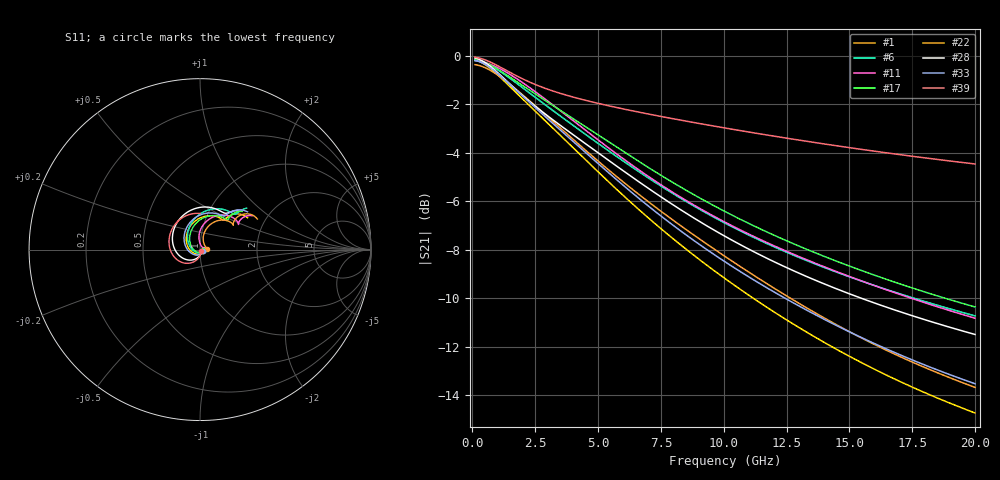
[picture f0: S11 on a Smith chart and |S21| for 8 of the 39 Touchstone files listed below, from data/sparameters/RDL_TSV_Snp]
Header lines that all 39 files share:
! Touchstone file exported from HFSS 2023.1.0
!  Design:  RDL_TSV
!  Setup:  Setup1
!  Solution:  Sweep
! Variables:
# GHz S MA R 50.000000
! Terminal data exported
! Port[1] = TM1_1_T1
! Port[2] = TM1_4_T1
Fixed: hbump = 3um, p = 40, rhole = 10um, t = 450um, viad = 10um, xbump = 18um
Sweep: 100 MHz to 20 GHz
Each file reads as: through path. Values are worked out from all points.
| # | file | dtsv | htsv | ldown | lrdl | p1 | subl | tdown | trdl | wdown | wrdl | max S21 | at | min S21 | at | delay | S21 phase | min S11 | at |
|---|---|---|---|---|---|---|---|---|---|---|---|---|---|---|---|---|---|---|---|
| 1 | dut0.s2p | 20.88um | 87.49um | 478.69um | 654.83um | 55.94um | 4055.39um | 3.23um | 4.89um | 13.56um | 22.6um | -0.18 dB | 100 MHz | -14.7 dB | 20 GHz | 40.7 ps | 175 deg at 10.1 GHz | -34.0 dB | 100 MHz |
| 2 | dut2.s2p | 17.55um | 98.23um | 552.75um | 538.35um | 56.75um | 3811.65um | 4.68um | 3.72um | 19.07um | 26.37um | -0.14 dB | 100 MHz | -14.0 dB | 20 GHz | 37.3 ps | -172 deg at 10.1 GHz | -36.1 dB | 100 MHz |
| 3 | dut3.s2p | 20.86um | 97.53um | 193.39um | 340.9um | 52.71um | 1943.77um | 2.87um | 2.93um | 27.42um | 27.81um | -0.09 dB | 100 MHz | -8.8 dB | 20 GHz | 23.9 ps | -108 deg at 10.1 GHz | -34.5 dB | 100 MHz |
| 4 | dut8.s2p | 19.8um | 84.4um | 602.1um | 325.7um | 48.63um | 3109.1um | 2.41um | 3.86um | 13.27um | 17.84um | -0.24 dB | 100 MHz | -12.2 dB | 20 GHz | 34.7 ps | -155 deg at 10.1 GHz | -31.7 dB | 100 MHz |
| 5 | dut12.s2p | 16.44um | 70.29um | 522.3um | 140.46um | 43.26um | 2128.74um | 2.16um | 3.47um | 22.85um | 13.35um | -0.14 dB | 100 MHz | -7.7 dB | 20 GHz | 23 ps | -103 deg at 10.1 GHz | -35.7 dB | 100 MHz |
| 6 | dut15.s2p | 13.64um | 97.39um | 353.99um | 381.13um | 50.54um | 2586.49um | 3.45um | 2.06um | 20.38um | 15.34um | -0.20 dB | 100 MHz | -10.7 dB | 20 GHz | 28.1 ps | -130 deg at 10.1 GHz | -34.1 dB | 700 MHz |
| 7 | dut20.s2p | 15.56um | 91.16um | 605.74um | 309.29um | 59.93um | 3054.38um | 4.05um | 3.56um | 24.32um | 18.36um | -0.13 dB | 100 MHz | -11.7 dB | 20 GHz | 30.2 ps | -141 deg at 10.1 GHz | -37.2 dB | 100 MHz |
| 8 | dut21.s2p | 20.08um | 97.84um | 483.92um | 539.47um | 48.72um | 3609.64um | 3.31um | 4.92um | 15.24um | 27.25um | -0.15 dB | 100 MHz | -13.0 dB | 20 GHz | 38.6 ps | -172 deg at 10.1 GHz | -34.3 dB | 100 MHz |
| 9 | dut25.s2p | 18.03um | 53.51um | 458.17um | 230.35um | 51.34um | 2295.91um | 2.94um | 3.14um | 25.13um | 28.02um | -0.10 dB | 100 MHz | -7.5 dB | 20 GHz | 21.3 ps | -97 deg at 10.1 GHz | -38.7 dB | 100 MHz |
| 10 | dut28.s2p | 12.66um | 63.07um | 625.79um | 620.86um | 59.43um | 4360.81um | 2.81um | 4.84um | 24.63um | 29.18um | -0.15 dB | 100 MHz | -12.7 dB | 20 GHz | 36.3 ps | -166 deg at 10.1 GHz | -37.2 dB | 600 MHz |
| 11 | dut29.s2p | 12.64um | 82.62um | 552.91um | 376.52um | 45.29um | 3164.81um | 4.84um | 2.77um | 14.4um | 14.28um | -0.20 dB | 100 MHz | -10.8 dB | 20 GHz | 30.7 ps | -140 deg at 10.1 GHz | -34.5 dB | 700 MHz |
| 12 | dut30.s2p | 12.25um | 59.23um | 450.09um | 392.31um | 48.94um | 2919.51um | 4.75um | 3.33um | 10.96um | 25.32um | -0.15 dB | 100 MHz | -9.0 dB | 20 GHz | 25.6 ps | -118 deg at 10.1 GHz | -35.7 dB | 100 MHz |
| 13 | dut31.s2p | 15.23um | 90.77um | 461um | 207.35um | 49.43um | 2212.4um | 4.91um | 4.35um | 19.59um | 28.77um | -0.08 dB | 100 MHz | -8.9 dB | 20 GHz | 23.4 ps | -108 deg at 10.1 GHz | -38.9 dB | 100 MHz |
| 14 | dut34.s2p | 21.64um | 75.35um | 475.02um | 370.62um | 52.73um | 2907.54um | 2.95um | 3.67um | 15.83um | 27.95um | -0.15 dB | 100 MHz | -10.8 dB | 20 GHz | 31 ps | -140 deg at 10.1 GHz | -35.0 dB | 100 MHz |
| 15 | dut35.s2p | 15.22um | 77.59um | 464um | 462.99um | 47.02um | 3243.96um | 4.68um | 3.53um | 27.2um | 20.04um | -0.13 dB | 100 MHz | -10.4 dB | 20 GHz | 30.7 ps | -138 deg at 10.1 GHz | -37.0 dB | 100 MHz |
| 16 | dut36.s2p | 18.58um | 95.93um | 474.65um | 168.18um | 56.25um | 2096.67um | 3.02um | 3.45um | 15.51um | 22.2um | -0.13 dB | 100 MHz | -10.3 dB | 20 GHz | 24.9 ps | -117 deg at 10.1 GHz | -35.5 dB | 100 MHz |
| 17 | dut39.s2p | 19.16um | 58.17um | 610.49um | 392.94um | 50.07um | 3403.23um | 4.67um | 2.73um | 26.9um | 17.62um | -0.16 dB | 100 MHz | -10.4 dB | 20 GHz | 31.5 ps | -141 deg at 10.1 GHz | -36.1 dB | 500 MHz |
| 18 | dut41.s2p | 22.37um | 79.71um | 155.73um | 541.87um | 55.24um | 2634.67um | 4.27um | 3.16um | 19.48um | 20.82um | -0.13 dB | 100 MHz | -10.6 dB | 20 GHz | 29.6 ps | -133 deg at 10.1 GHz | -35.6 dB | 100 MHz |
| 19 | dut43.s2p | 11.84um | 72.65um | 185.41um | 269.32um | 46.14um | 1633.51um | 2.62um | 2.66um | 27.86um | 12.4um | -0.13 dB | 100 MHz | -6.9 dB | 20 GHz | 18.2 ps | -84 deg at 10.1 GHz | -36.9 dB | 500 MHz |
| 20 | dut45.s2p | 10.92um | 73.59um | 635.22um | 631.22um | 54.78um | 4430.54um | 2.8um | 2.58um | 26.51um | 15.36um | -0.28 dB | 100 MHz | -13.5 dB | 20 GHz | 39.3 ps | -178 deg at 10.1 GHz | -29.9 dB | 100 MHz |
| 21 | dut47.s2p | 23.87um | 80.15um | 561.98um | 565.96um | 56.93um | 3949.78um | 4.99um | 2.7um | 27.88um | 28.41um | -0.15 dB | 100 MHz | -13.4 dB | 20 GHz | 39.5 ps | -177 deg at 10.1 GHz | -34.5 dB | 100 MHz |
| 22 | dut50.s2p | 17.86um | 72.65um | 543.77um | 639.32um | 46.83um | 4188.59um | 2.55um | 2.27um | 12.67um | 15.77um | -0.37 dB | 100 MHz | -13.7 dB | 20 GHz | 41 ps | 177 deg at 10.1 GHz | -28.8 dB | 800 MHz |
| 23 | dut52.s2p | 26.44um | 98.58um | 439.7um | 587.06um | 57.47um | 3667.34um | 3.4um | 4.83um | 15.77um | 12.01um | -0.21 dB | 100 MHz | -15.2 dB | 20 GHz | 46.2 ps | 158 deg at 10.1 GHz | -32.3 dB | 100 MHz |
| 24 | dut56.s2p | 17.92um | 94.42um | 557.71um | 250.12um | 44.04um | 2673.61um | 4.75um | 3.65um | 24.11um | 26.67um | -0.09 dB | 100 MHz | -9.5 dB | 20 GHz | 28.9 ps | -128 deg at 10.1 GHz | -36.1 dB | 100 MHz |
| 25 | dut65.s2p | 20.66um | 71.61um | 371.39um | 183.32um | 48.32um | 1847.45um | 3.38um | 3.45um | 10.08um | 17.95um | -0.14 dB | 100 MHz | -8.0 dB | 20 GHz | 23.6 ps | -106 deg at 10.1 GHz | -35.4 dB | 100 MHz |
| 26 | dut66.s2p | 18.78um | 56.84um | 122.97um | 396.95um | 48.26um | 1956.71um | 3.33um | 2.1um | 10.71um | 19.05um | -0.16 dB | 100 MHz | -7.3 dB | 20 GHz | 21.2 ps | -95 deg at 10.1 GHz | -35.0 dB | 100 MHz |
| 27 | dut68.s2p | 21.8um | 64.86um | 290.73um | 490.7um | 59.32um | 2834.99um | 2.07um | 3.46um | 28.83um | 18.45um | -0.15 dB | 100 MHz | -10.5 dB | 20 GHz | 28.3 ps | -130 deg at 10.1 GHz | -35.7 dB | 100 MHz |
| 28 | dut73.s2p | 17.91um | 98.99um | 203.41um | 559.05um | 58.42um | 2846.43um | 4.12um | 4.7um | 14.02um | 28.23um | -0.10 dB | 100 MHz | -11.5 dB | 20 GHz | 29.6 ps | -138 deg at 10.1 GHz | -36.9 dB | 100 MHz |
| 29 | dut76.s2p | 19.3um | 53.8um | 131.14um | 261.73um | 56.07um | 1440.34um | 3.97um | 4.08um | 18.02um | 18.65um | -0.07 dB | 100 MHz | -6.0 dB | 20 GHz | 15.6 ps | -72 deg at 10.1 GHz | -41.1 dB | 100 MHz |
| 30 | dut80.s2p | 11.97um | 67.7um | 383.03um | 281.22um | 53.13um | 2273.97um | 2.68um | 4.73um | 24.08um | 18.17um | -0.10 dB | 100 MHz | -8.0 dB | 20 GHz | 21.5 ps | -101 deg at 10.1 GHz | -48.1 dB | 700 MHz |
| 31 | dut81.s2p | 16.21um | 70.44um | 276.83um | 571.82um | 46.3um | 3117.77um | 4.34um | 3.86um | 13.6um | 28.16um | -0.12 dB | 100 MHz | -9.7 dB | 20 GHz | 29.2 ps | -132 deg at 10.1 GHz | -37.3 dB | 100 MHz |
| 32 | dut85.s2p | 19.26um | 88.43um | 344.64um | 130.83um | 44.13um | 1557.24um | 3.13um | 3.18um | 24.66um | 24.87um | -0.08 dB | 100 MHz | -6.6 dB | 20 GHz | 20.4 ps | -89 deg at 10.1 GHz | -35.9 dB | 100 MHz |
| 33 | dut89.s2p | 17.86um | 97.39um | 481.9um | 524.84um | 52.16um | 3545.06um | 4.53um | 2.54um | 17.62um | 19.85um | -0.19 dB | 100 MHz | -13.5 dB | 20 GHz | 36.8 ps | -168 deg at 10.1 GHz | -33.4 dB | 100 MHz |
| 34 | dut90.s2p | 22.49um | 71.04um | 384.71um | 396.92um | 56.54um | 2741.81um | 4.25um | 2.99um | 10.97um | 28.53um | -0.15 dB | 100 MHz | -10.6 dB | 20 GHz | 29.2 ps | -133 deg at 10.1 GHz | -35.5 dB | 100 MHz |
| 35 | dut97.s2p | 24.74um | 71.4um | 459.92um | 223.96um | 55.04um | 2275.6um | 4.82um | 3.03um | 10.55um | 12.14um | -0.17 dB | 100 MHz | -9.7 dB | 20 GHz | 29.2 ps | -129 deg at 10.1 GHz | -34.5 dB | 100 MHz |
| 36 | dut100.s2p | 10.34um | 89.19um | 627.04um | 270.55um | 42.15um | 2963.32um | 4.94um | 2.01um | 18.23um | 16.16um | -0.18 dB | 100 MHz | -9.7 dB | 20 GHz | 28.8 ps | -130 deg at 10.1 GHz | -42.1 dB | 1 GHz |
| 37 | dut104.s2p | 13.46um | 84.57um | 287.68um | 329.5um | 56.39um | 2181.04um | 4.58um | 4.97um | 17.48um | 20.36um | -0.08 dB | 100 MHz | -8.9 dB | 20 GHz | 22.4 ps | -106 deg at 10.1 GHz | -40.5 dB | 100 MHz |
| 38 | dut111.s2p | 17um | 75.18um | 618.96um | 550.2um | 55.21um | 4057.68um | 3.93um | 3.11um | 15.12um | 20.87um | -0.21 dB | 100 MHz | -13.6 dB | 20 GHz | 37.5 ps | -171 deg at 10.1 GHz | -36.6 dB | 700 MHz |
| 39 | dut116.s2p | 18.99um | 60.53um | 164.59um | 218.3um | 40.89um | 1366.97um | 3.07um | 3.73um | 29.43um | 19.56um | -0.07 dB | 100 MHz | -4.5 dB | 20 GHz | 16.4 ps | -70 deg at 10.1 GHz | -39.1 dB | 100 MHz |
